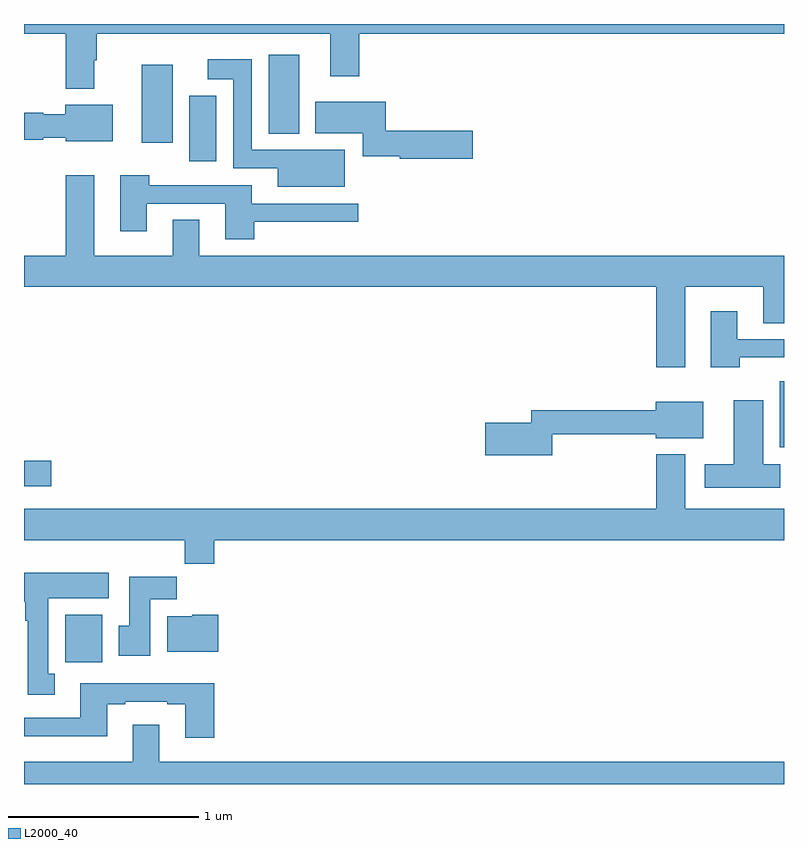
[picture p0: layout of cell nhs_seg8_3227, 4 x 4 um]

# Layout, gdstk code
import gdstk
lib = gdstk.Library(unit=1e-6, precision=1e-09)
def R(c, l, rs):  # rectangles x0, y0, x1, y1
    for r in rs: c.add(gdstk.rectangle(r[:2], r[2:], *l))
def P(c, l, *ps):  # polygons
    for p in ps: c.add(gdstk.Polygon(p, *l))
L2000_40 = (2000, 40)

nhs_seg8_3227 = lib.new_cell('nhs_seg8_3227')
R(nhs_seg8_3227, L2000_40, [(311.217,1098.54,311.413,1098.79), (311,1099.466,311.143,1099.601), (314.978,1099.673,315,1100.02), (311.87,1101.177,312.013,1101.523), (311.621,1101.276,311.782,1101.685), (312.287,1101.323,312.448,1101.739)])
P(nhs_seg8_3227, L2000_40, [(311.371,1101.71),(311.384,1101.71),(311.384,1101.848),(312.611,1101.848),(312.611,1101.624),(312.764,1101.624),(312.764,1101.848),(315,1101.848),(315,1101.9),(311,1101.9),(311,1101.848),(311.219,1101.848),(311.219,1101.56),(311.371,1101.56)],
  [(312.688,1101.238),(312.444,1101.238),(312.444,1101.237),(312.198,1101.237),(312.198,1101.715),(311.967,1101.715),(311.967,1101.608),(312.102,1101.608),(312.102,1101.141),(312.335,1101.141),(312.335,1101.044),(312.688,1101.044)],
  [(313.363,1101.338),(312.905,1101.338),(312.905,1101.49),(312.533,1101.49),(312.533,1101.326),(312.782,1101.326),(312.782,1101.203),(312.978,1101.203),(312.978,1101.191),(313.363,1101.191)],
  [(311.467,1101.475),(311.216,1101.475),(311.216,1101.424),(311.1,1101.424),(311.1,1101.432),(311,1101.432),(311,1101.29),(311.1,1101.29),(311.1,1101.302),(311.22,1101.302),(311.22,1101.284),(311.467,1101.284)],
  [(314.479,1100.516),(314.891,1100.516),(314.891,1100.326),(315,1100.326),(315,1100.68),(311.923,1100.68),(311.923,1100.87),(311.783,1100.87),(311.783,1100.68),(311.371,1100.68),(311.371,1101.103),(311.219,1101.103),(311.219,1100.68),(311,1100.68),(311,1100.516),(314.327,1100.516),(314.327,1100.094),(314.479,1100.094)],
  [(312.212,1100.858),(312.76,1100.858),(312.76,1100.955),(312.199,1100.955),(312.199,1101.051),(311.66,1101.051),(311.66,1101.103),(311.507,1101.103),(311.507,1100.808),(311.647,1100.808),(311.647,1100.955),(312.059,1100.955),(312.059,1100.766),(312.212,1100.766)],
  [(314.768,1100.145),(315,1100.145),(315,1100.241),(314.755,1100.241),(314.755,1100.389),(314.615,1100.389),(314.615,1100.094),(314.768,1100.094)],
  [(314.98,1099.582),(314.89,1099.582),(314.89,1099.921),(314.735,1099.921),(314.735,1099.582),(314.583,1099.582),(314.583,1099.46),(314.98,1099.46)],
  [(313.78,1099.74),(314.324,1099.74),(314.324,1099.721),(314.575,1099.721),(314.575,1099.912),(314.324,1099.912),(314.324,1099.868),(313.67,1099.868),(313.67,1099.802),(313.428,1099.802),(313.428,1099.631),(313.78,1099.631)],
  [(312.002,1099.184),(315,1099.184),(315,1099.348),(314.479,1099.348),(314.479,1099.636),(314.327,1099.636),(314.327,1099.348),(311,1099.348),(311,1099.184),(311.845,1099.184),(311.845,1099.06),(312.002,1099.06)],
  [(311.161,1098.481),(311.128,1098.481),(311.128,1098.878),(311.446,1098.878),(311.446,1099.012),(311,1099.012),(311,1098.858),(311.006,1098.858),(311.006,1098.758),(311.021,1098.758),(311.021,1098.369),(311.161,1098.369)],
  [(311.665,1098.872),(311.804,1098.872),(311.804,1098.991),(311.555,1098.991),(311.555,1098.732),(311.498,1098.732),(311.498,1098.576),(311.665,1098.576)],
  [(312.022,1098.79),(311.886,1098.79),(311.886,1098.784),(311.753,1098.784),(311.753,1098.596),(312.022,1098.596)],
  [(312.002,1098.43),(311.297,1098.43),(311.297,1098.249),(311,1098.249),(311,1098.152),(311.437,1098.152),(311.437,1098.321),(311.533,1098.321),(311.533,1098.333),(311.753,1098.333),(311.753,1098.321),(311.849,1098.321),(311.849,1098.144),(312.002,1098.144)],
  [(315,1098.016),(311.713,1098.016),(311.713,1098.211),(311.573,1098.211),(311.573,1098.016),(311,1098.016),(311,1097.9),(315,1097.9)])

lib.write_gds('nhs_seg8_3227.gds')
